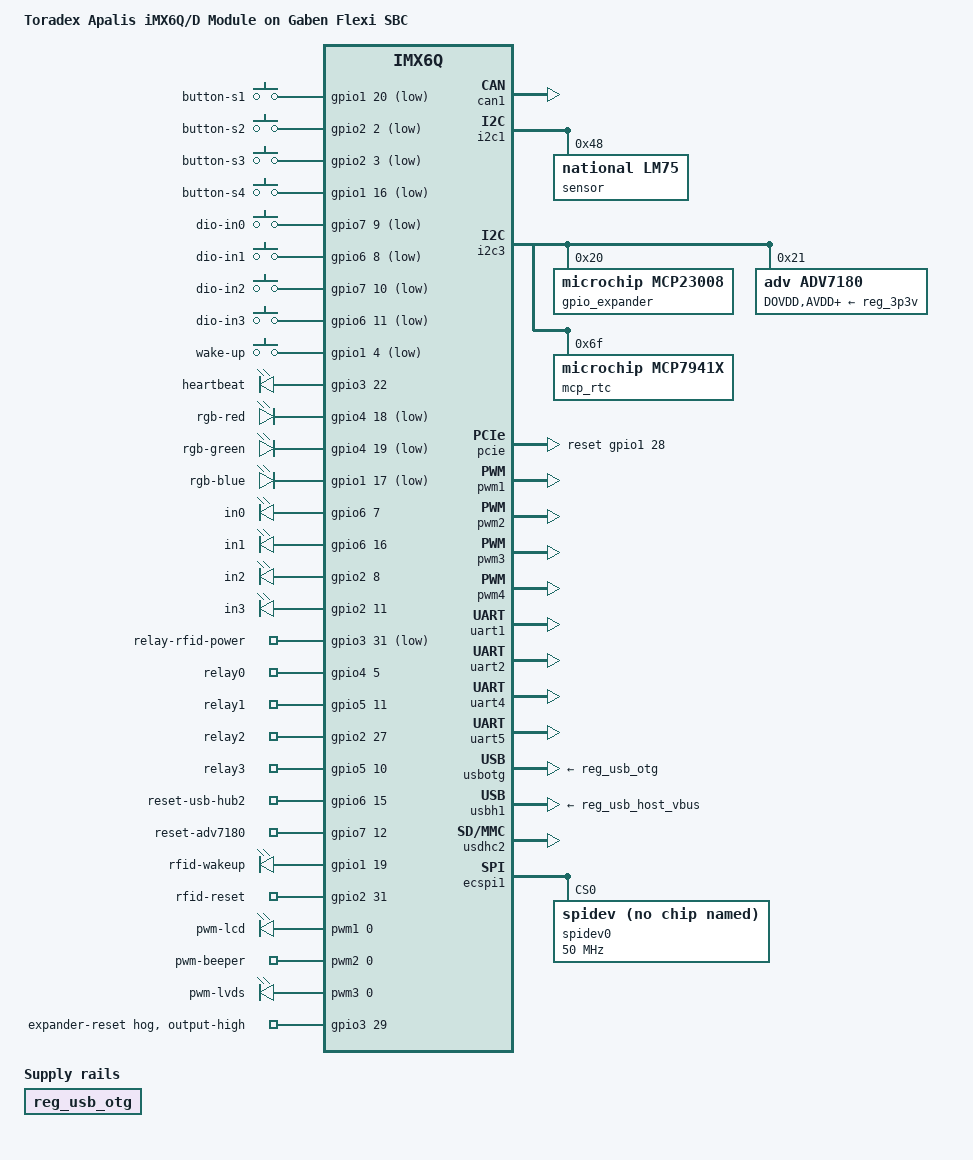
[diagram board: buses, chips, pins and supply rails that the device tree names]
// SPDX-License-Identifier: GPL-2.0-or-later OR MIT

/dts-v1/;

#include <dt-bindings/input/input.h>
#include <dt-bindings/interrupt-controller/irq.h>
#include "imx6q.dtsi"
#include "imx6qdl-apalis.dtsi"

/ {
	model = "Toradex Apalis iMX6Q/D Module on Gaben Flexi SBC";
	compatible = "toradex,apalis_imx6q-gaben-flexisbc", "toradex,apalis_imx6q",
		     "fsl,imx6q";

	aliases {
		i2c1 = &i2c1;
		i2c2 = &i2c2;
		i2c3 = &i2c3;

		rtc0 = &mcp_rtc;
		rtc1 = &snvs_rtc;

		led-boot = &led_system;
		led-failsafe = &led_system;
		led-upgrade = &led_system;
	};

	keys {
		compatible = "gpio-keys";
		pinctrl-names = "default";
		pinctrl-0 = <&pinctrl_gpio_buttons &pinctrl_gpio_keys>;

		/* S1-S4 buttons on top board under LCD */
		s1 {
			label = "button-s1";
			gpios = <&gpio1 20 GPIO_ACTIVE_LOW>;
			linux,code = <BTN_A>;
			debounce-interval = <10>;
		};

		s2 {
			label = "button-s2";
			gpios = <&gpio2 2 GPIO_ACTIVE_LOW>;
			linux,code = <BTN_B>;
			debounce-interval = <10>;
		};

		s3 {
			label = "button-s3";
			gpios = <&gpio2 3 GPIO_ACTIVE_LOW>;
			linux,code = <BTN_C>;
			debounce-interval = <10>;
		};

		s4 {
			label = "button-s4";
			gpios = <&gpio1 16 GPIO_ACTIVE_LOW>;
			linux,code = <BTN_X>;
			debounce-interval = <10>;
		};

		/* IN0-IN3 digital inputs */
		in0 {
			label = "dio-in0";
			gpios = <&gpio7 9 GPIO_ACTIVE_LOW>;
			linux,code = <BTN_0>;
			debounce-interval = <10>;
		};

		in1 {
			label = "dio-in1";
			gpios = <&gpio6 8 GPIO_ACTIVE_LOW>;
			linux,code = <BTN_1>;
			debounce-interval = <10>;
		};

		in2 {
			label = "dio-in2";
			gpios = <&gpio7 10 GPIO_ACTIVE_LOW>;
			linux,code = <BTN_2>;
			debounce-interval = <10>;
		};

		in3 {
			label = "dio-in3";
			gpios = <&gpio6 11 GPIO_ACTIVE_LOW>;
			linux,code = <BTN_3>;
			debounce-interval = <10>;
		};

		/* Wake-up signal from miniPCIe/GSM slot */
		wakeup {
			label = "wake-up";
			gpios = <&gpio1 4 GPIO_ACTIVE_LOW>;
			linux,code = <KEY_WAKEUP>;
			debounce-interval = <10>;
			wakeup-source;
		};
	};

	leds {
		compatible = "gpio-leds";
		pinctrl-names = "default";
		pinctrl-0 = <&pinctrl_gpio_leds>;

		heartbeat {
			label = "heartbeat";
			gpios = <&gpio3 22 GPIO_ACTIVE_HIGH>;
			linux,default-trigger = "heartbeat";
		};

		led_system: rgb-r {
			label = "rgb-red";
			gpios = <&gpio4 18 GPIO_ACTIVE_LOW>;
		};

		rgb-g {
			label = "rgb-green";
			gpios = <&gpio4 19 GPIO_ACTIVE_LOW>;
		};

		rgb-b {
			label = "rgb-blue";
			gpios = <&gpio1 17 GPIO_ACTIVE_LOW>;
		};

		led-in0 {
			label = "in0";
			gpios = <&gpio6 7 GPIO_ACTIVE_HIGH>;
		};

		led-in1 {
			label = "in1";
			gpios = <&gpio6 16 GPIO_ACTIVE_HIGH>;
		};

		led-in2 {
			label = "in2";
			gpios = <&gpio2 8 GPIO_ACTIVE_HIGH>;
		};

		led-in3 {
			label = "in3";
			gpios = <&gpio2 11 GPIO_ACTIVE_HIGH>;
		};

		/*
		 * TODO: For nodes bellow we're currently abusing LEDs, but we
		 * should fix it correctly with libgpiod
		 */

		relay-rfid-power {
			label = "relay-rfid-power";
			gpios = <&gpio3 31 GPIO_ACTIVE_LOW>;
			linux,default-trigger = "default-on";
		};

		relay0 {
			label = "relay0";
			gpios = <&gpio4 5 GPIO_ACTIVE_HIGH>;
		};

		relay1 {
			label = "relay1";
			gpios = <&gpio5 11 GPIO_ACTIVE_HIGH>;
		};

		relay2 {
			label = "relay2";
			gpios = <&gpio2 27 GPIO_ACTIVE_HIGH>;
		};

		relay3 {
			label = "relay3";
			gpios = <&gpio5 10 GPIO_ACTIVE_HIGH>;
		};

		/* USB HUB CY7C65632 reset, not connected currently */
		reset-usb-hub2 {
			label = "reset-usb-hub2";
			gpios = <&gpio6 15 GPIO_ACTIVE_HIGH>;
			linux,default-trigger = "default-on";
		};

		/* adv7180@i2c3 reset */
		reset-adv7180 {
			label = "reset-adv7180";
			gpios = <&gpio7 12 GPIO_ACTIVE_HIGH>;
			linux,default-trigger = "default-on";
		};

		rfid-wakeup {
			label = "rfid-wakeup";
			gpios = <&gpio1 19 GPIO_ACTIVE_HIGH>;
		};

		rfid-reset {
			label = "rfid-reset";
			gpios = <&gpio2 31 GPIO_ACTIVE_HIGH>;
			linux,default-trigger = "default-on";
		};
	};

	pwmleds {
		compatible = "pwm-leds";
		ledpwm1 {
			label = "pwm-lcd";
			pwms = <&pwm1 0 50000>;
			max-brightness = <255>;
		};

		ledpwm2 {
			label = "pwm-beeper";
			pwms = <&pwm2 0 488281>;
			max-brightness = <255>;
		};

		ledpwm3 {
			label = "pwm-lvds";
			pwms = <&pwm3 0 50000>;
			max-brightness = <255>;
		};
	};

	reg_usb_otg: regulator-usb-otg {
		compatible = "regulator-fixed";
		regulator-name = "usb_otg_vbus";
		regulator-always-on;
	};
};

&can1 {
	status = "okay";
};

&gpio3 {
	/* mcp23009@i2c3 reset */
	expander-reset {
		gpio-hog;
		gpios = <29 GPIO_ACTIVE_HIGH>;
		output-high;
		line-name = "expander-reset";
	};
};

&i2c1 {
	status = "okay";

	sensor: lm75@48 {
		compatible = "national,lm75";
		reg = <0x48>;
	};
};

&i2c3 {
	status = "okay";

	gpio_expander: mcp23009@20 {
		compatible = "microchip,mcp23008";
		gpio-controller;
		#gpio-cells = <2>;
		reg = <0x20>;
	};

	adv7180: adv7180@21 {
		compatible = "adv,adv7180";
		reg = <0x21>;
		pinctrl-names = "default";
		pinctrl-0 = <&pinctrl_ipu1_csi0>;
		clocks = <&clks 200>;
		clock-names = "csi_mclk";
		DOVDD-supply = <&reg_3p3v>; /* 3.3v */
		AVDD-supply = <&reg_3p3v>;  /* 1.8v */
		DVDD-supply = <&reg_3p3v>;  /* 1.8v */
		PVDD-supply = <&reg_3p3v>;  /* 1.8v */
		csi_id = <0>;
		mclk = <24000000>;
		mclk_source = <1>;
		cvbs = <1>;
		status = "okay";
	};

	mcp_rtc: mcp7941x@6f {
		compatible = "microchip,mcp7941x";
		reg = <0x6f>;
	};
};

&iomuxc {
	pinctrl-names = "default";
	pinctrl-0 = <&pinctrl_apalis_gpio1 &pinctrl_apalis_gpio2
		     &pinctrl_apalis_gpio3 &pinctrl_apalis_gpio4
		     &pinctrl_apalis_gpio5 &pinctrl_apalis_gpio6
		     &pinctrl_apalis_gpio7 &pinctrl_apalis_gpio8
		     &pinctrl_rs485_dr &pinctrl_misc_gpio &pinctrl_revision>;

	/*
	 * BTN0 is in pinctrl_misc_gpio, because we need to init it ASAP. BTN0
	 * is being used as reset via IC11/ATTiny if being held down for more
	 * then 8 seconds. If the gpio-keys is compiled as module and we boot
	 * over NFS, then it can take more then 8 seconds to init the GPIO and
	 * the board would get stuck in the reboot loop forever.
	 */
	pinctrl_gpio_buttons: gpio-buttons {
		fsl,pins = <
			MX6QDL_PAD_NANDF_D2__GPIO2_IO02		0x1b0b0 /* BTN1 */
			MX6QDL_PAD_NANDF_D3__GPIO2_IO03		0x1b0b0 /* BTN2 */
			MX6QDL_PAD_SD1_DAT0__GPIO1_IO16		0x1b0b0 /* BTN3 */
			>;
	};

	pinctrl_rs485_dr: rs485dr {
		fsl,pins = <
			MX6QDL_PAD_EIM_WAIT__GPIO5_IO00		0x130b0	/* 485-DR */
			>;
	};

	pinctrl_misc_gpio: misc-gpio {
		fsl,pins = <
			MX6QDL_PAD_SD1_CLK__GPIO1_IO20		0x1b0b0	/* BTN0 */
			MX6QDL_PAD_EIM_DA14__GPIO3_IO14		0x130b0 /* LVDS-BLK_PWM */
			MX6QDL_PAD_SD1_DAT2__GPIO1_IO19		0x130b0 /* CS_PCIE / RFID_WAKEUP */
			MX6QDL_PAD_SD1_DAT3__GPIO1_IO21		0x130b0	/* RING */
			MX6QDL_PAD_NANDF_D0__GPIO2_IO00		0x130b0	/* WDIS */
			MX6QDL_PAD_SD1_CMD__GPIO1_IO18		0x130b0	/* PERST */
			MX6QDL_PAD_NANDF_CS2__GPIO6_IO15	0x130b0 /* RHUB */
			MX6QDL_PAD_EIM_EB3__GPIO2_IO31          0x1b0b1 /* RFID_RESET */
			>;
	};

	pinctrl_revision: revision {
		fsl,pins = <
			MX6QDL_PAD_EIM_A21__GPIO2_IO17 		0 /* SJ2 bit0 */
			MX6QDL_PAD_EIM_A22__GPIO2_IO16 		0 /* SJ3 bit1 */
			MX6QDL_PAD_EIM_A23__GPIO6_IO06 		0 /* SJ4 bit2 */
			MX6QDL_PAD_EIM_A24__GPIO5_IO04 		0 /* SJ5 bit3 */
		>;
	};

	pinctrl_gpio_leds: gpio-leds {
		fsl,pins = <
			MX6QDL_PAD_EIM_D22__GPIO3_IO22 		0x130b0 /* Heartbeat LED */

			MX6QDL_PAD_DI0_PIN2__GPIO4_IO18		0x1b0b0	/* RGB-R */
			MX6QDL_PAD_DI0_PIN3__GPIO4_IO19		0x1b0b0	/* RGB-G */
			MX6QDL_PAD_SD1_DAT1__GPIO1_IO17		0x1b0b0	/* RGB-B */

			MX6QDL_PAD_NANDF_CLE__GPIO6_IO07	0x130b0	/* LED-IN0 */
			MX6QDL_PAD_NANDF_CS3__GPIO6_IO16	0x130b0 /* LED-IN1 */
			MX6QDL_PAD_SD4_DAT0__GPIO2_IO08		0x130b0	/* LED-IN2 */
			MX6QDL_PAD_SD4_DAT3__GPIO2_IO11		0x130b0	/* LED-IN3 */

			MX6QDL_PAD_GPIO_19__GPIO4_IO05		0x130b0	/* RELAY0 */
			MX6QDL_PAD_DISP0_DAT17__GPIO5_IO11	0x130b0	/* RELAY1 */
			MX6QDL_PAD_EIM_LBA__GPIO2_IO27		0x130b0	/* RELAY2 */
			MX6QDL_PAD_DISP0_DAT16__GPIO5_IO10	0x130b0	/* RELAY3 */
			MX6QDL_PAD_EIM_D31__GPIO3_IO31		0x1b0b0 /* RFID_PWR_RELAY */
			>;
	};
};

&ldb {
	status = "disabled";
};

&sata {
	status = "disabled";
};

&pcie {
	/* active-high meaning opposite of regular PERST# active-low polarity */
	reset-gpio = <&gpio1 28 GPIO_ACTIVE_HIGH>;
	reset-gpio-active-high;
	status = "okay";
};

&pwm1 {
	status = "okay";
};

&pwm2 {
	status = "okay";
};

&pwm3 {
	status = "okay";
};

&pwm4 {
	status = "okay";
};

&uart1 {
	status = "okay";
};

&uart2 {
	status = "okay";
};

&uart4 {
	status = "okay";
};

&uart5 {
	status = "okay";
};

&usbotg {
	vbus-supply = <&reg_usb_otg>;
	status = "okay";
};

&reg_usb_host_vbus {
	status = "okay";
};

&usbh1 {
	vbus-supply = <&reg_usb_host_vbus>;
	status = "okay";
};

/* SD1 */
&usdhc2 {
	status = "okay";
};

&ecspi1 {
	status = "okay";

	/* dogm128 LCD */
	spidev0: spi@0 {
		 compatible = "spidev";
		 reg = <0>;
		 spi-max-frequency = <50000000>;
	 };
};
